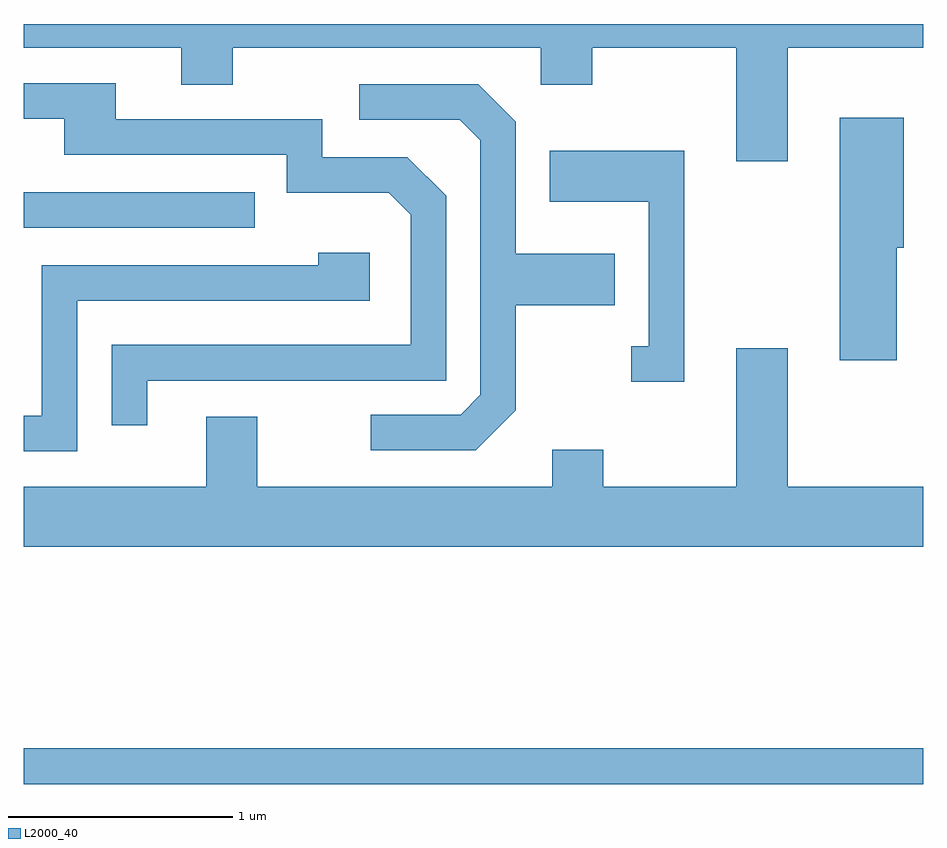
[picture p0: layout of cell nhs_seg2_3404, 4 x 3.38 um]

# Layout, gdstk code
import gdstk
lib = gdstk.Library(unit=1e-6, precision=1e-09)
def R(c, l, rs):  # rectangles x0, y0, x1, y1
    for r in rs: c.add(gdstk.rectangle(r[:2], r[2:], *l))
def P(c, l, *ps):  # polygons
    for p in ps: c.add(gdstk.Polygon(p, *l))
L2000_40 = (2000, 40)

nhs_seg2_3404 = lib.new_cell('nhs_seg2_3404')
R(nhs_seg2_3404, L2000_40, [(285.611,998.421,289.611,998.579), (285.611,1000.896,286.638,1001.054)])
P(nhs_seg2_3404, L2000_40, [(289.009,1001.696),(289.611,1001.696),(289.611,1001.802),(285.611,1001.802),(285.611,1001.696),(286.311,1001.696),(286.311,1001.531),(286.539,1001.531),(286.539,1001.696),(287.911,1001.696),(287.911,1001.531),(288.139,1001.531),(288.139,1001.696),(288.781,1001.696),(288.781,1001.191),(289.009,1001.191)],
  [(286.159,1000.216),(287.489,1000.216),(287.489,1001.037),(287.317,1001.209),(286.939,1001.209),(286.939,1001.379),(286.019,1001.379),(286.019,1001.539),(285.611,1001.539),(285.611,1001.381),(285.791,1001.381),(285.791,1001.221),(286.781,1001.221),(286.781,1001.051),(287.234,1001.051),(287.331,1000.954),(287.331,1000.374),(286.001,1000.374),(286.001,1000.018),(286.159,1000.018)],
  [(287.799,1000.084),(287.799,1000.551),(288.239,1000.551),(288.239,1000.779),(287.799,1000.779),(287.799,1001.367),(287.632,1001.534),(287.103,1001.534),(287.103,1001.376),(287.549,1001.376),(287.641,1001.284),(287.641,1000.152),(287.554,1000.064),(287.153,1000.064),(287.153,999.906),(287.622,999.906)],
  [(289.494,1000.806),(289.524,1000.806),(289.524,1001.384),(289.241,1001.384),(289.241,1000.306),(289.494,1000.306)],
  [(288.549,1001.239),(287.951,1001.239),(287.951,1001.011),(288.391,1001.011),(288.391,1000.369),(288.313,1000.369),(288.313,1000.211),(288.549,1000.211)],
  [(285.849,1000.571),(287.149,1000.571),(287.149,1000.784),(286.921,1000.784),(286.921,1000.729),(285.691,1000.729),(285.691,1000.059),(285.611,1000.059),(285.611,999.901),(285.849,999.901)],
  [(289.611,999.744),(289.009,999.744),(289.009,1000.359),(288.781,1000.359),(288.781,999.744),(288.189,999.744),(288.189,999.909),(287.961,999.909),(287.961,999.744),(286.649,999.744),(286.649,1000.054),(286.421,1000.054),(286.421,999.744),(285.611,999.744),(285.611,999.476),(289.611,999.476)])

lib.write_gds('nhs_seg2_3404.gds')
